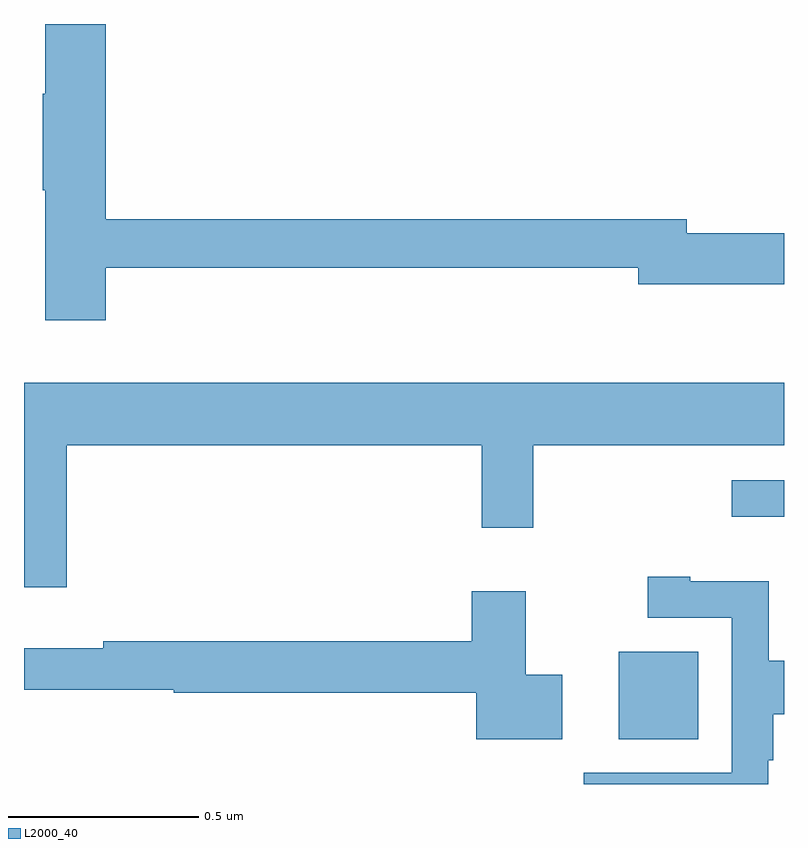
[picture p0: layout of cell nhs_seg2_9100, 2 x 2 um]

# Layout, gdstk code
import gdstk
lib = gdstk.Library(unit=1e-6, precision=1e-09)
def R(c, l, rs):  # rectangles x0, y0, x1, y1
    for r in rs: c.add(gdstk.rectangle(r[:2], r[2:], *l))
def P(c, l, *ps):  # polygons
    for p in ps: c.add(gdstk.Polygon(p, *l))
L2000_40 = (2000, 40)

nhs_seg2_9100 = lib.new_cell('nhs_seg2_9100')
R(nhs_seg2_9100, L2000_40, [(226.565,590.918,226.774,591.148), (226.863,591.503,227,591.6)])
P(nhs_seg2_9100, L2000_40, [(225.215,592.158),(226.616,592.158),(226.616,592.115),(227,592.115),(227,592.25),(226.744,592.25),(226.744,592.286),(225.215,592.286),(225.215,592.8),(225.056,592.8),(225.056,592.616),(225.049,592.616),(225.049,592.363),(225.056,592.363),(225.056,592.02),(225.215,592.02)],
  [(225.112,591.692),(226.204,591.692),(226.204,591.474),(226.34,591.474),(226.34,591.692),(227,591.692),(227,591.856),(225,591.856),(225,591.318),(225.112,591.318)],
  [(226.959,590.862),(226.972,590.862),(226.972,590.984),(227,590.984),(227,591.124),(226.96,591.124),(226.96,591.334),(226.753,591.334),(226.753,591.346),(226.641,591.346),(226.641,591.237),(226.863,591.237),(226.863,590.829),(226.473,590.829),(226.473,590.8),(226.959,590.8)],
  [(226.417,591.088),(226.32,591.088),(226.32,591.307),(226.178,591.307),(226.178,591.176),(225.208,591.176),(225.208,591.157),(225,591.157),(225,591.048),(225.394,591.048),(225.394,591.04),(226.19,591.04),(226.19,590.918),(226.417,590.918)])

lib.write_gds('nhs_seg2_9100.gds')
